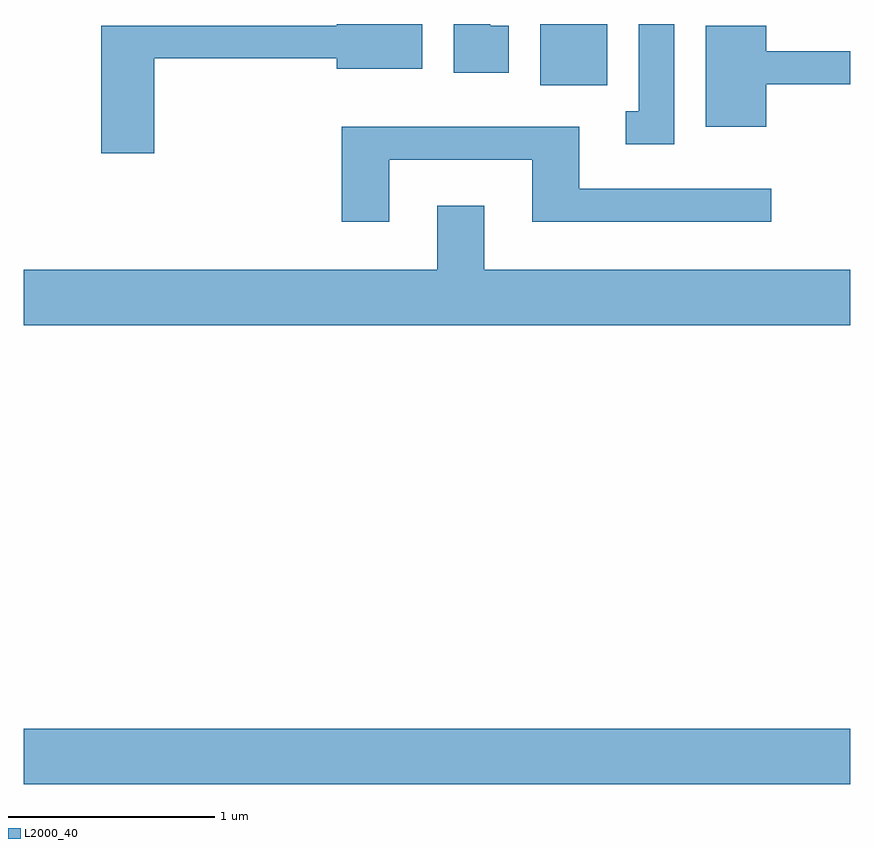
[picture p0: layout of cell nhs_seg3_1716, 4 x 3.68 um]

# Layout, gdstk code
import gdstk
lib = gdstk.Library(unit=1e-6, precision=1e-09)
def R(c, l, rs):  # rectangles x0, y0, x1, y1
    for r in rs: c.add(gdstk.rectangle(r[:2], r[2:], *l))
def P(c, l, *ps):  # polygons
    for p in ps: c.add(gdstk.Polygon(p, *l))
L2000_40 = (2000, 40)

nhs_seg3_1716 = lib.new_cell('nhs_seg3_1716')
R(nhs_seg3_1716, L2000_40, [(235.611,1148.216,239.611,1148.484), (238.111,1151.596,238.434,1151.892)])
P(nhs_seg3_1716, L2000_40, [(236.244,1151.726),(237.126,1151.726),(237.126,1151.676),(237.539,1151.676),(237.539,1151.892),(237.126,1151.892),(237.126,1151.884),(235.986,1151.884),(235.986,1151.266),(236.244,1151.266)],
  [(238.759,1151.892),(238.586,1151.892),(238.586,1151.469),(238.523,1151.469),(238.523,1151.311),(238.759,1151.311)],
  [(237.959,1151.884),(237.869,1151.884),(237.869,1151.892),(237.691,1151.892),(237.691,1151.656),(237.959,1151.656)],
  [(239.204,1151.601),(239.611,1151.601),(239.611,1151.759),(239.204,1151.759),(239.204,1151.884),(238.911,1151.884),(238.911,1151.396),(239.204,1151.396)],
  [(237.379,1151.236),(238.071,1151.236),(238.071,1150.936),(239.228,1150.936),(239.228,1151.094),(238.299,1151.094),(238.299,1151.394),(237.151,1151.394),(237.151,1150.936),(237.379,1150.936)],
  [(239.611,1150.704),(237.839,1150.704),(237.839,1151.014),(237.611,1151.014),(237.611,1150.704),(235.611,1150.704),(235.611,1150.436),(239.611,1150.436)])

lib.write_gds('nhs_seg3_1716.gds')
